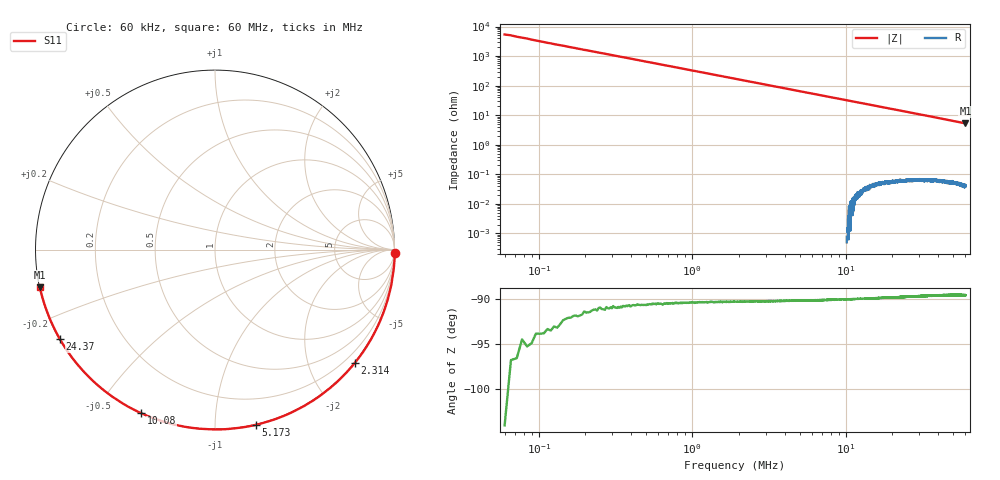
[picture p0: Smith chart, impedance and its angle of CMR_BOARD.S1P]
!Keysight Technologies,E5063A,MY54100949,A.07.30
!Date: Wed Dec 31 05:00:23 2025
!Data & Calibration Information:
!Freq	S11:SOLT1(ON)
# Hz S RI R 50
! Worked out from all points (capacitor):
!   10001 points, 60 kHz to 60 MHz, reference 50 ohm
!   read as one part to ground: C = 487 pF near 359.7 kHz
!   lowest |Z| = 5.3 ohm at 59.99 MHz (marker M1)
!   S11 on the Smith chart (normalised r, x): 60 kHz: open; 2.314 MHz: -0.01, -2.82; 5.173 MHz: -0.00, -1.26; 10.08 MHz: -0.00, -0.65; 24.37 MHz: 0.00, -0.27; 60 MHz: 0.00, -0.11
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60000  1.004 -0.018
305754  0.9968 -0.0939
725334  0.9774 -0.2195
1132926  0.9437 -0.3372
1696362  0.8757 -0.4877
2313744  0.7791 -0.6314
2997060  0.6537 -0.7606
3686370  0.5173 -0.8592
4399656  0.3756 -0.93
5172882  0.2276 -0.9761
6263790  0.0395 -1.001
7552500  -0.147 -0.9904
8769282  -0.2889 -0.9581
1.008197e7  -0.4111 -0.9116
1.116688e7  -0.4923 -0.87
1.235369e7  -0.5649 -0.8243
1.361843e7  -0.6275 -0.7772
1.5045e7  -0.684 -0.7277
1.662142e7  -0.7331 -0.6775
1.837766e7  -0.7759 -0.6277
2.25375e7  -0.8446 -0.5312
2.437166e7  -0.8654 -0.4965
3.003e7  -0.9087 -0.4116
3.75225e7  -0.9401 -0.3336
4.5015e7  -0.9579 -0.2797
5.25075e7  -0.9688 -0.2398
5.999401e7  -0.9761 -0.2093
6e7  -0.9762 -0.2094
